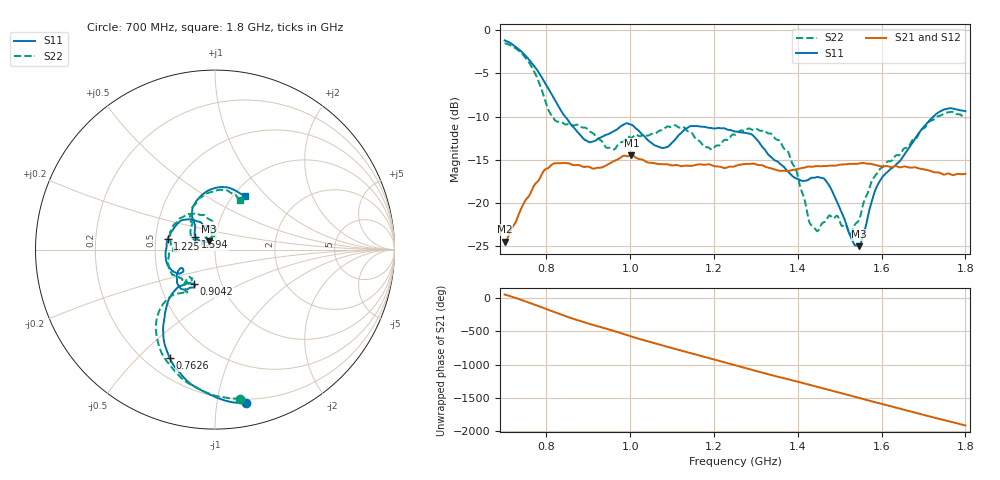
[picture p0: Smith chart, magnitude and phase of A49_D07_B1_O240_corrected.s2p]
! Created with skrf 1.9.0 (http://scikit-rf.org).
# Hz S RI R 50.0
!freq ReS11 ImS11 ReS21 ImS21 ReS12 ImS12 ReS22 ImS22
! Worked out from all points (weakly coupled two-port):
!   1601 points, 700 MHz to 1.8 GHz, reference 50 ohm
!   highest |S21| = -14.50 dB at 1.002 GHz (marker M1); lowest = -24.5 dB at 700 MHz (marker M2)
!   lowest |S11| = -25.0 dB at 1.546 GHz (marker M3), VSWR 1.12, Z = 46.6 + j4.26 ohm
!   |S11| at or under -10 dB: 844.5 MHz to 1.724 GHz (879.1 MHz wide, 68.5 % of centre)
!   |S22| runs from -23.7 to -1.5 dB; largest |S21 - S12| = 0.0035
!   S11 on the Smith chart (normalised r, x): 700 MHz: 0.17, -1.21; 762.6 MHz: 0.30, -0.63; 904.2 MHz: 0.74, -0.30; 1.225 GHz: 0.58, +0.08; 1.594 GHz: 0.79, +0.12; 1.8 GHz: 1.13, +0.76
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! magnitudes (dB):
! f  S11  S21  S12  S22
! 700 MHz  -1.2  -24.5  -24.3  -1.5
! 762.6 MHz  -3.7  -18.8  -18.8  -4.1
! 817.6 MHz  -7.8  -15.4  -15.5  -10.3
! 883.6 MHz  -12.3  -15.7  -15.6  -11.2
! 904.2 MHz  -13.0  -15.9  -15.9  -11.8
! 958.5 MHz  -11.8  -15.2  -15.2  -13.8
! 1.002 GHz  -10.9  -14.5  -14.6  -12.5
! 1.067 GHz  -13.5  -15.5  -15.4  -11.7
! 1.144 GHz  -11.1  -15.7  -15.7  -11.8
! 1.192 GHz  -11.3  -15.6  -15.6  -13.8
! 1.225 GHz  -11.4  -16.0  -15.9  -12.7
! 1.25 GHz  -11.7  -15.7  -15.7  -12.1
! 1.357 GHz  -15.5  -16.3  -16.2  -12.8
! 1.395 GHz  -17.1  -16.1  -16.1  -16.1
! 1.434 GHz  -17.1  -15.8  -15.8  -22.7
! 1.47 GHz  -17.7  -15.7  -15.7  -21.8
! 1.526 GHz  -23.9  -15.5  -15.5  -23.7
! 1.546 GHz  -25.0  -15.4  -15.4  -22.0
! 1.594 GHz  -17.6  -15.7  -15.7  -16.2
! 1.617 GHz  -16.3  -15.8  -15.8  -15.2
! 1.732 GHz  -9.6  -16.5  -16.5  -10.0
! 1.8 GHz  -9.4  -16.6  -16.6  -10.1
